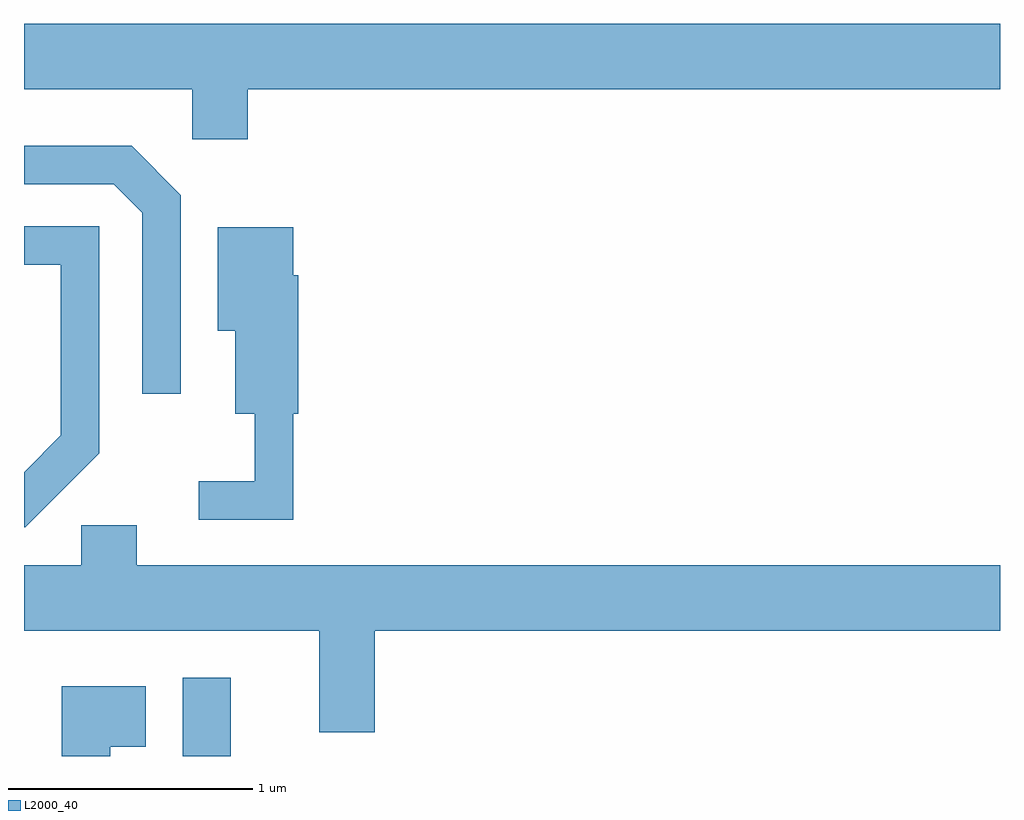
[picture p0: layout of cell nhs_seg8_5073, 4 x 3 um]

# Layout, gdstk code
import gdstk
lib = gdstk.Library(unit=1e-6, precision=1e-09)
def R(c, l, rs):  # rectangles x0, y0, x1, y1
    for r in rs: c.add(gdstk.rectangle(r[:2], r[2:], *l))
def P(c, l, *ps):  # polygons
    for p in ps: c.add(gdstk.Polygon(p, *l))
L2000_40 = (2000, 40)

nhs_seg8_5073 = lib.new_cell('nhs_seg8_5073')
R(nhs_seg8_5073, L2000_40, [(338.261,1840.342,338.459,1840.664)])
P(nhs_seg8_5073, L2000_40, [(338.529,1843.076),(341.611,1843.076),(341.611,1843.344),(337.611,1843.344),(337.611,1843.076),(338.301,1843.076),(338.301,1842.871),(338.529,1842.871)],
  [(338.254,1842.642),(338.052,1842.844),(337.611,1842.844),(337.611,1842.686),(337.979,1842.686),(338.096,1842.569),(338.096,1841.828),(338.254,1841.828)],
  [(337.919,1841.584),(337.919,1842.514),(337.611,1842.514),(337.611,1842.356),(337.761,1842.356),(337.761,1841.657),(337.611,1841.506),(337.611,1841.281),(337.617,1841.281)],
  [(338.714,1841.746),(338.734,1841.746),(338.734,1842.314),(338.714,1842.314),(338.714,1842.509),(338.406,1842.509),(338.406,1842.086),(338.476,1842.086),(338.476,1841.746),(338.556,1841.746),(338.556,1841.469),(338.328,1841.469),(338.328,1841.311),(338.714,1841.311)],
  [(339.049,1840.856),(341.611,1840.856),(341.611,1841.124),(338.074,1841.124),(338.074,1841.289),(337.846,1841.289),(337.846,1841.124),(337.611,1841.124),(337.611,1840.856),(338.821,1840.856),(338.821,1840.441),(339.049,1840.441)],
  [(337.964,1840.381),(338.109,1840.381),(338.109,1840.629),(337.766,1840.629),(337.766,1840.342),(337.964,1840.342)])

lib.write_gds('nhs_seg8_5073.gds')
